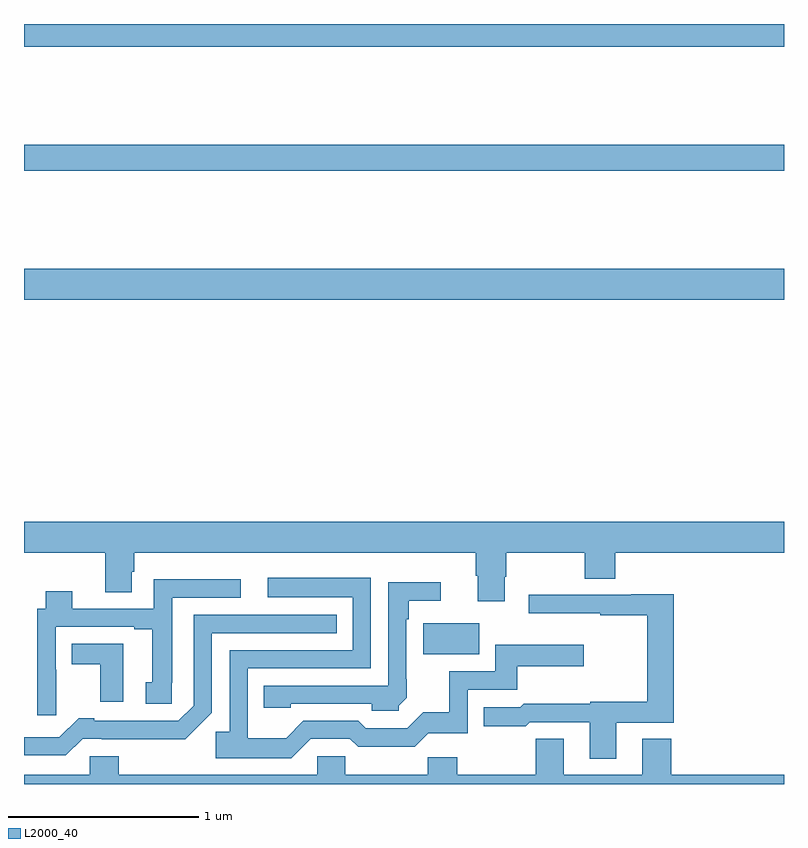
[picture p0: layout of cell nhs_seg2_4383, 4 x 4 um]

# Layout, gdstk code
import gdstk
lib = gdstk.Library(unit=1e-6, precision=1e-09)
def R(c, l, rs):  # rectangles x0, y0, x1, y1
    for r in rs: c.add(gdstk.rectangle(r[:2], r[2:], *l))
def P(c, l, *ps):  # polygons
    for p in ps: c.add(gdstk.Polygon(p, *l))
L2000_40 = (2000, 40)

nhs_seg2_4383 = lib.new_cell('nhs_seg2_4383')
R(nhs_seg2_4383, L2000_40, [(351.102,600.482,351.395,600.646), (349,602.348,353,602.512), (349,603.028,353,603.164), (349,603.68,353,603.8)])
P(nhs_seg2_4383, L2000_40, [(351.529,600.892),(351.537,600.892),(351.537,601.016),(351.952,601.016),(351.952,600.88),(352.112,600.88),(352.112,601.016),(353,601.016),(353,601.18),(349,601.18),(349,601.016),(349.427,601.016),(349.427,600.808),(349.567,600.808),(349.567,600.918),(349.58,600.918),(349.58,601.016),(351.377,601.016),(351.377,600.897),(351.389,600.897),(351.389,600.762),(351.529,600.762)],
  [(350.509,600.039),(350.715,600.039),(350.758,599.997),(351.056,599.997),(351.128,600.068),(351.336,600.068),(351.336,600.297),(351.596,600.297),(351.596,600.419),(351.946,600.419),(351.946,600.532),(351.48,600.532),(351.48,600.393),(351.238,600.393),(351.238,600.177),(351.102,600.177),(351.018,600.093),(350.799,600.093),(350.76,600.132),(350.469,600.132),(350.379,600.042),(350.178,600.042),(350.178,600.408),(350.826,600.408),(350.826,600.886),(350.283,600.886),(350.283,600.782),(350.73,600.782),(350.73,600.504),(350.082,600.504),(350.082,600.074),(350.009,600.074),(350.009,599.936),(350.406,599.936)],
  [(349.17,600.402),(349.167,600.402),(349.167,600.627),(349.58,600.627),(349.58,600.615),(349.676,600.615),(349.676,600.335),(349.64,600.335),(349.64,600.222),(349.778,600.222),(349.778,600.334),(349.78,600.334),(349.78,600.78),(350.14,600.78),(350.14,600.877),(349.683,600.877),(349.683,600.723),(349.255,600.723),(349.255,600.814),(349.115,600.814),(349.115,600.723),(349.07,600.723),(349.07,600.162),(349.17,600.162)],
  [(350.973,600.212),(351.015,600.253),(351.015,600.352),(351.012,600.352),(351.012,600.668),(351.024,600.668),(351.024,600.765),(351.193,600.765),(351.193,600.862),(350.916,600.862),(350.916,600.318),(350.263,600.318),(350.263,600.201),(350.403,600.201),(350.403,600.222),(350.831,600.222),(350.831,600.186),(350.973,600.186)],
  [(352.117,600.123),(352.421,600.123),(352.421,600.798),(352.195,600.798),(352.195,600.795),(351.657,600.795),(351.657,600.698),(352.033,600.698),(352.033,600.687),(352.279,600.687),(352.279,600.232),(351.981,600.232),(351.981,600.223),(351.631,600.223),(351.612,600.204),(351.421,600.204),(351.421,600.104),(351.641,600.104),(351.663,600.126),(351.977,600.126),(351.977,599.934),(352.117,599.934)],
  [(349.308,600.039),(349.408,600.039),(349.408,600.035),(349.848,600.035),(349.989,600.176),(349.989,600.594),(350.645,600.594),(350.645,600.69),(349.893,600.69),(349.893,600.213),(349.812,600.132),(349.369,600.132),(349.369,600.147),(349.287,600.147),(349.186,600.046),(349,600.046),(349,599.952),(349.221,599.952)],
  [(349.522,600.537),(349.252,600.537),(349.252,600.429),(349.4,600.429),(349.4,600.234),(349.522,600.234)],
  [(352.406,600.038),(352.253,600.038),(352.253,599.848),(351.841,599.848),(351.841,600.038),(351.694,600.038),(351.694,599.848),(351.279,599.848),(351.279,599.941),(351.125,599.941),(351.125,599.848),(350.69,599.848),(350.69,599.946),(350.544,599.946),(350.544,599.848),(349.499,599.848),(349.499,599.946),(349.347,599.946),(349.347,599.848),(349,599.848),(349,599.8),(353,599.8),(353,599.848),(352.406,599.848)])

lib.write_gds('nhs_seg2_4383.gds')
